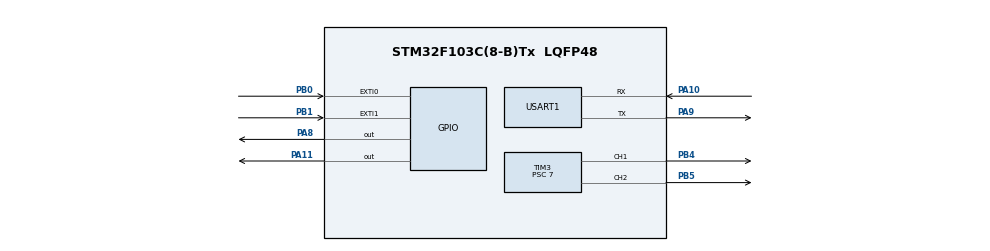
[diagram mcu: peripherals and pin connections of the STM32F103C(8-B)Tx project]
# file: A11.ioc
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Mcu.Family=STM32F1
Mcu.Name=STM32F103C(8-B)Tx
Mcu.Package=LQFP48
NVIC.EXTI0_IRQn=true\:0\:0\:false\:false\:true\:true\:true
NVIC.EXTI1_IRQn=true\:0\:0\:false\:false\:true\:true\:true
NVIC.PriorityGroup=NVIC_PRIORITYGROUP_4
NVIC.USART1_IRQn=true\:0\:0\:false\:false\:true\:true\:true
PA10.Mode=Asynchronous
PA10.Signal=USART1_RX
PA11.GPIO_ModeDefaultOutputPP=GPIO_MODE_OUTPUT_OD
PA11.GPIO_PuPd=GPIO_PULLUP
PA11.PinState=GPIO_PIN_SET
PA11.Signal=GPIO_Output
PA13.Mode=Serial_Wire
PA13.Signal=SYS_JTMS-SWDIO
PA14.Mode=Serial_Wire
PA14.Signal=SYS_JTCK-SWCLK
PA8.GPIO_ModeDefaultOutputPP=GPIO_MODE_OUTPUT_OD
PA8.GPIO_PuPd=GPIO_PULLUP
PA8.PinState=GPIO_PIN_SET
PA8.Signal=GPIO_Output
PA9.Mode=Asynchronous
PA9.Signal=USART1_TX
PB0.GPIO_ModeDefaultEXTI=GPIO_MODE_IT_FALLING
PB0.GPIO_PuPd=GPIO_PULLDOWN
PB0.Signal=GPXTI0
PB1.GPIO_ModeDefaultEXTI=GPIO_MODE_IT_FALLING
PB1.GPIO_PuPd=GPIO_PULLDOWN
PB1.Signal=GPXTI1
PB4.Signal=S_TIM3_CH1
PB5.Signal=S_TIM3_CH2
PD0-OSC_IN.Mode=HSE-External-Oscillator
PD0-OSC_IN.Signal=RCC_OSC_IN
PD1-OSC_OUT.Mode=HSE-External-Oscillator
PD1-OSC_OUT.Signal=RCC_OSC_OUT
ProjectManager.HeapSize=0x200
ProjectManager.StackSize=0x400
ProjectManager.TargetToolchain=MDK-ARM V5.27
RCC.APB1Freq_Value=8000000
RCC.APB2Freq_Value=8000000
SH.S_TIM3_CH1.0=TIM3_CH1,PWM Generation1 CH1
SH.S_TIM3_CH2.0=TIM3_CH2,PWM Generation2 CH2
TIM3.Channel-PWM\ Generation1\ CH1=TIM_CHANNEL_1
TIM3.Channel-PWM\ Generation2\ CH2=TIM_CHANNEL_2
TIM3.Period=19999
TIM3.Prescaler=7
TIM3.Pulse-PWM\ Generation1\ CH1=1100
TIM3.Pulse-PWM\ Generation2\ CH2=1350
USART1.VirtualMode=VM_ASYNC
board=custom

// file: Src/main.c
/* USER CODE BEGIN Header */
/**
  ******************************************************************************
  * @file           : main.c
  * @brief          : Main program body
  ******************************************************************************
  * @attention
  *
  * <h2><center>&copy; Copyright (c) 2020 STMicroelectronics.
  * All rights reserved.</center></h2>
  *
  * This software component is licensed by ST under BSD 3-Clause license,
  * the "License"; You may not use this file except in compliance with the
  * License. You may obtain a copy of the License at:
  *                        opensource.org/licenses/BSD-3-Clause
  *
  ******************************************************************************
  */
/* USER CODE END Header */

#include "main.h"
#include "tim.h"
#include "usart.h"
#include "gpio.h"

/* USER CODE BEGIN PTD */
uint8_t UART_temp[10];
uint8_t A1=0,A2=0;
uint16_t OUT_x,OUT_y;
/* USER CODE END PTD */

void SystemClock_Config(void);

int main(void)
{

  /* MCU Configuration--------------------------------------------------------*/

  /* Reset of all peripherals, Initializes the Flash interface and the Systick. */
  HAL_Init();

  /* Configure the system clock */
  SystemClock_Config();

  /* Initialize all configured peripherals */
  MX_GPIO_Init();
  MX_TIM3_Init();
  MX_USART1_UART_Init();
  /* USER CODE BEGIN 2 */
	HAL_UART_Receive_IT(&huart1,(uint8_t *)UART_temp,5);
	HAL_TIM_PWM_Start(&htim3,TIM_CHANNEL_1);
	HAL_TIM_PWM_Start(&htim3,TIM_CHANNEL_2);
  /* USER CODE END 2 */

  /* Infinite loop */
  /* USER CODE BEGIN WHILE */
  while (1)
  {
		HAL_GPIO_WritePin(GPIOA,GPIO_PIN_8,1);
		if(A1==1){
			A1=0;
			HAL_GPIO_WritePin(GPIOA,GPIO_PIN_11,0);
		}

		if(A2==1){
			A2=0;
			HAL_GPIO_WritePin(GPIOA,GPIO_PIN_11,1);
			HAL_Delay(500);
			HAL_GPIO_WritePin(GPIOA,GPIO_PIN_8,0);
			HAL_Delay(100);
			HAL_GPIO_WritePin(GPIOA,GPIO_PIN_8,1);
		}
    /* USER CODE END WHILE */

  }
}

void SystemClock_Config(void)
{
  RCC_OscInitTypeDef RCC_OscInitStruct = {0};
  RCC_ClkInitTypeDef RCC_ClkInitStruct = {0};

  /** Initializes the CPU, AHB and APB busses clocks
  */
  RCC_OscInitStruct.OscillatorType = RCC_OSCILLATORTYPE_HSI;
  RCC_OscInitStruct.HSIState = RCC_HSI_ON;
  RCC_OscInitStruct.HSICalibrationValue = RCC_HSICALIBRATION_DEFAULT;
  RCC_OscInitStruct.PLL.PLLState = RCC_PLL_NONE;
  if (HAL_RCC_OscConfig(&RCC_OscInitStruct) != HAL_OK)
  {
    Error_Handler();
  }
  /** Initializes the CPU, AHB and APB busses clocks
  */
  RCC_ClkInitStruct.ClockType = RCC_CLOCKTYPE_HCLK|RCC_CLOCKTYPE_SYSCLK
                              |RCC_CLOCKTYPE_PCLK1|RCC_CLOCKTYPE_PCLK2;
  RCC_ClkInitStruct.SYSCLKSource = RCC_SYSCLKSOURCE_HSI;
  RCC_ClkInitStruct.AHBCLKDivider = RCC_SYSCLK_DIV1;
  RCC_ClkInitStruct.APB1CLKDivider = RCC_HCLK_DIV1;
  RCC_ClkInitStruct.APB2CLKDivider = RCC_HCLK_DIV1;

  if (HAL_RCC_ClockConfig(&RCC_ClkInitStruct, FLASH_LATENCY_0) != HAL_OK)
  {
    Error_Handler();
  }
}

/* USER CODE BEGIN 4 */
void HAL_UART_RxCpltCallback(UART_HandleTypeDef *huart){
	 if(huart->Instance==USART1){
		 if(UART_temp[0]==28){
			 OUT_x=(uint16_t)((uint16_t)(UART_temp[1]<<8) + UART_temp[2]);
			 OUT_y=(uint16_t)((uint16_t)(UART_temp[3]<<8) + UART_temp[4]);
			__HAL_TIM_SetCompare(&htim3, TIM_CHANNEL_1,	OUT_x);
			__HAL_TIM_SetCompare(&htim3, TIM_CHANNEL_2, OUT_y);
		}
		HAL_UART_Receive_IT(&huart1,(uint8_t *)UART_temp,5);
	 }
}

void HAL_GPIO_EXTI_Callback(uint16_t GPIO_Pin){
	if(GPIO_Pin== GPIO_PIN_0){
		A1=1;
	}
	if(GPIO_Pin== GPIO_PIN_1){
		A2=1;
	}
}
/* USER CODE END 4 */

void Error_Handler(void)
{
}

/************************ (C) COPYRIGHT STMicroelectronics *****END OF FILE****/
